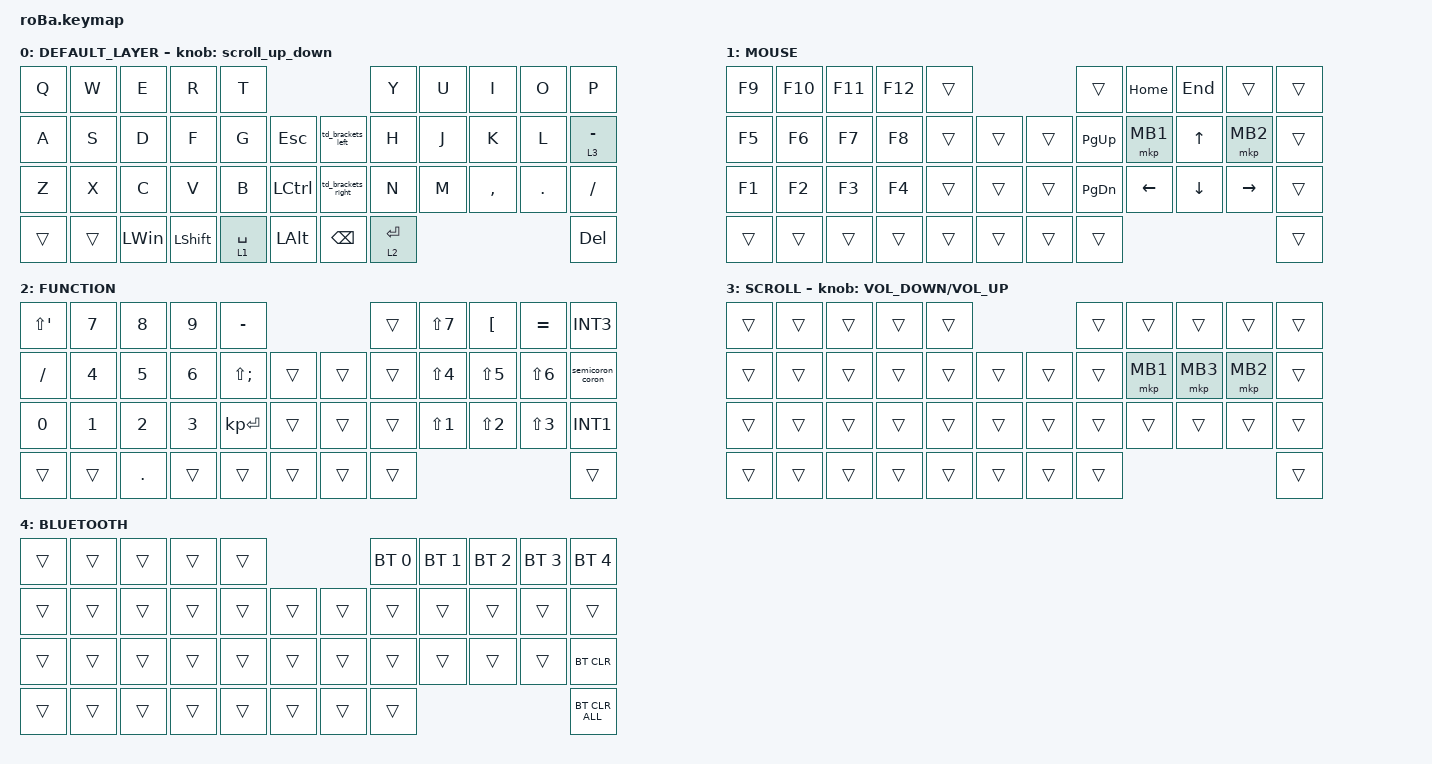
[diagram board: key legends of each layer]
#include <behaviors.dtsi>
#include <dt-bindings/zmk/bt.h>
#include <dt-bindings/zmk/keys.h>
#include <dt-bindings/zmk/pointing.h>

#define MOUSE 4
#define SCROLL 5
#define NUM 6
#define ZMK_POINTING_DEFAULT_SCRL_VAL 100

// JISキーコード対応表

#define JP_ZKHK  GRAVE        // Zenkaku ↔ Hankaku ↔ Kanji (半角 ↔ 全角 ↔ 漢字)
#define JP_MINUS MINUS        // -
#define JP_CARET EQUAL        // ^
#define JP_YEN   INT3         // ¥
#define JP_AT    LBKT         // @
#define JP_LBKT  RBKT         // [
#define JP_EISU  CAPS         // Eisū (英数)
#define JP_SEMI  SEMI         // ;
#define JP_COLON SQT          // :
#define JP_RBKT  NUHS         // ]
#define JP_COMMA COMMA        // ,
#define JP_DOT   DOT          // .
#define JP_SLASH SLASH        // /
#define JP_BSLH  INT1         // (backslash)
#define JP_MHEN  INT5         // Muhenkan (無変換)
#define JP_HENK  INT4         // Henkan (変換)
#define JP_KANA  INT2         // Katakana ↔ Hiragana ↔ Rōmaji (カタカナ ↔ ひらがな ↔ ローマ字)
#define JP_EXCL  LS(N1)       // !
#define JP_DQT   LS(N2)       // "
#define JP_HASH  LS(N3)       // #
#define JP_DLLR  LS(N4)       // $
#define JP_PRCNT LS(N5)       // %
#define JP_AMPS  LS(N6)       // &
#define JP_SQT   LS(N7)       // '
#define JP_LPAR  LS(N8)       // (
#define JP_RPAR  LS(N9)       // )
#define JP_EQUAL LS(JP_MINUS) // =
#define JP_TILDE LS(JP_CARET) // ~
#define JP_PIPE  LS(JP_YEN)   // |
#define JP_GRAVE LS(JP_AT)    // `
#define JP_LBRC  LS(JP_LBKT)  // {
#define JP_CAPS  LS(JP_EISU)  // Caps Lock
#define JP_PLUS  LS(JP_SEMI)  // +
#define JP_ASTRK LS(JP_COLON) // *
#define JP_RBRC  LS(JP_RBKT)  // }
#define JP_LT    LS(JP_COMMA) // <
#define JP_RT    LS(JP_DOT)   // >
#define JP_QMARK LS(JP_SLASH) // ?
#define JP_UNDER LS(JP_BSLH)  // _

&mt {
    flavor = "balanced";
    quick-tap-ms = <0>;
};

/ {
    combos {
        compatible = "zmk,combos";

        tab {
            bindings = <&kp TAB>;
            key-positions = <11 12>;
        };

        shift_tab {
            bindings = <&kp LS(TAB)>;
            key-positions = <12 13>;
        };

        jp {
            bindings = <&kp LANG_HANGEUL>;
            key-positions = <18 19>;
            layers = <0>;
        };

        en {
            bindings = <&kp LANG_HANJA>;
            key-positions = <19 20>;
            layers = <0>;
        };

        mouse_layer {
            bindings = <&to 1>;
            key-positions = <20 21>;
        };

        bt_layer {
            bindings = <&mo 4>;
            key-positions = <10 11>;
        };

        default_layer {
            bindings = <&to 0>;
            key-positions = <8 9>;
        };
    };

    macros {
        to_layer_0: to_layer_0 {
            compatible = "zmk,behavior-macro-one-param";
            #binding-cells = <1>;
            bindings = <&to 2 &macro_param_1to1 &kp MACRO_PLACEHOLDER>;
            label = "TO_LAYER_0";
        };
    };

    behaviors {
        lt_to_layer_0: lt_to_layer_0 {
            compatible = "zmk,behavior-hold-tap";
            label = "LAYER_TAP_TO_0";
            bindings = <&mo>, <&to_layer_0>;

            #binding-cells = <2>;
            tapping-term-ms = <200>;
        };

        scroll_up_down: behavior_sensor_rotate_mouse_wheel_up_down {
            compatible = "zmk,behavior-sensor-rotate";
            #sensor-binding-cells = <0>;
            bindings = <&msc SCRL_UP>, <&msc SCRL_DOWN>;

            tap-ms = <20>;
        };

        td_brackets_left: tap_dance_brackets_left {
            compatible = "zmk,behavior-tap-dance";
            #binding-cells = <0>;
            tapping-term-ms = <200>;
            bindings = <&kp JP_LPAR>, <&kp JP_LBKT>;
        };

        td_brackets_right: tap_dance_brackets_right {
            compatible = "zmk,behavior-tap-dance";
            #binding-cells = <0>;
            tapping-term-ms = <200>;
            bindings = <&kp JP_RPAR>, <&kp JP_RBKT>;
        };

        shift_controll: shift_controll {
            compatible = "zmk,behavior-tap-dance";
            label = "SHIFT_CONTROLL";
            #binding-cells = <0>;
            bindings = <&kp LSHIFT>, <&kp LCTRL>, <&kp LS(LCTRL)>;
        };

        semicoron_coron: semicoron_coron {
            compatible = "zmk,behavior-tap-dance";
            label = "SEMICORON_CORON";
            #binding-cells = <0>;
            bindings = <&kp SEMICOLON>, <&kp SQT>;
        };
    };

    keymap {
        compatible = "zmk,keymap";

        DEFAULT_LAYER {
            bindings = <
&kp Q   &kp W   &kp E         &kp R           &kp T                                              &kp Y        &kp U  &kp I      &kp O    &kp P
&kp A   &kp S   &kp D         &kp F           &kp G        &kp ESCAPE        &td_brackets_left   &kp H        &kp J  &kp K      &kp L    &lt 3 MINUS
&kp Z   &kp X   &kp C         &kp V           &kp B        &kp LCTRL         &td_brackets_right  &kp N        &kp M  &kp COMMA  &kp DOT  &kp SLASH
&trans  &trans  &kp LEFT_WIN  &kp LEFT_SHIFT  &lt 1 SPACE  &kp LEFT_ALT      &kp BACKSPACE       &lt 2 ENTER                             &kp DEL
            >;

            sensor-bindings = <&scroll_up_down>;
        };

        MOUSE {
            bindings = <
&kp F9  &kp F10  &kp F11  &kp F12  &trans                      &trans         &kp HOME  &kp END   &trans     &trans
&kp F5  &kp F6   &kp F7   &kp F8   &trans  &trans      &trans  &kp PAGE_UP    &mkp MB1  &kp UP    &mkp MB2   &trans
&kp F1  &kp F2   &kp F3   &kp F4   &trans  &trans      &trans  &kp PAGE_DOWN  &kp LEFT  &kp DOWN  &kp RIGHT  &trans
&trans  &trans   &trans   &trans   &trans  &trans      &trans  &trans                                        &trans
            >;
        };

        FUNCTION {
            bindings = <
&kp LS(SQT)   &kp NUMBER_7  &kp NUMBER_8  &kp NUMBER_9  &kp MINUS                         &trans  &kp LS(N7)  &kp LBKT    &kp EQUAL   &kp INT3
&kp SLASH     &kp NUMBER_4  &kp NUMBER_5  &kp NUMBER_6  &kp LS(SEMI)  &trans      &trans  &trans  &kp LS(N4)  &kp LS(N5)  &kp LS(N6)  &semicoron_coron
&kp NUMBER_0  &kp NUMBER_1  &kp NUMBER_2  &kp NUMBER_3  &kp KP_ENTER  &trans      &trans  &trans  &kp LS(N1)  &kp LS(N2)  &kp LS(N3)  &kp INT1
&trans        &trans        &kp DOT       &trans        &trans        &trans      &trans  &trans                                      &trans
            >;
        };

        SCROLL {
            bindings = <
&trans  &trans  &trans  &trans  &trans                      &trans  &trans    &trans    &trans    &trans
&trans  &trans  &trans  &trans  &trans  &trans      &trans  &trans  &mkp MB1  &mkp MB3  &mkp MB2  &trans
&trans  &trans  &trans  &trans  &trans  &trans      &trans  &trans  &trans    &trans    &trans    &trans
&trans  &trans  &trans  &trans  &trans  &trans      &trans  &trans                                &trans
            >;

            sensor-bindings = <&inc_dec_kp C_VOLUME_DOWN C_VOLUME_UP>;
        };

        BLUETOOTH {
            bindings = <
&trans  &trans  &trans  &trans  &trans                      &bt BT_SEL 0  &bt BT_SEL 1  &bt BT_SEL 2  &bt BT_SEL 3  &bt BT_SEL 4
&trans  &trans  &trans  &trans  &trans  &trans      &trans  &trans        &trans        &trans        &trans        &trans
&trans  &trans  &trans  &trans  &trans  &trans      &trans  &trans        &trans        &trans        &trans        &bt BT_CLR
&trans  &trans  &trans  &trans  &trans  &trans      &trans  &trans                                                  &bt BT_CLR_ALL
            >;
        };
    };

    conditional_layers { compatible = "zmk,conditional-layers"; };
};
